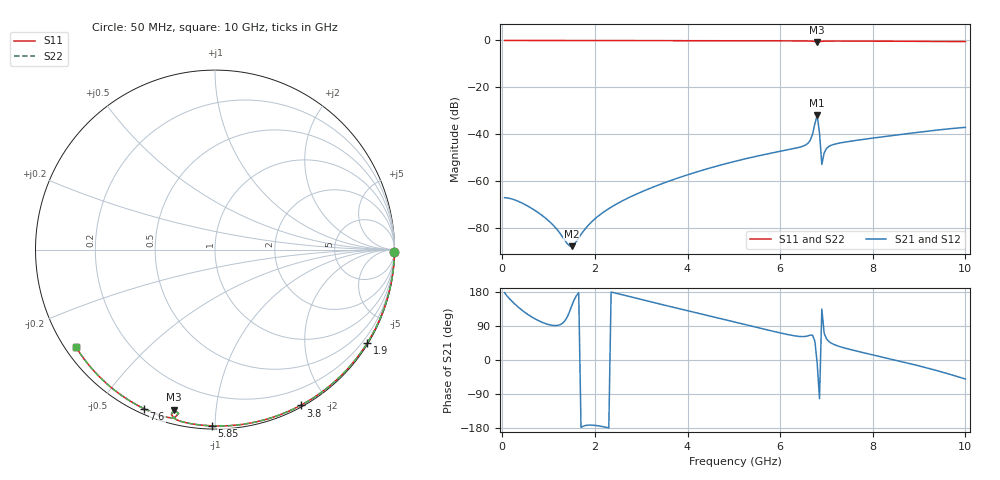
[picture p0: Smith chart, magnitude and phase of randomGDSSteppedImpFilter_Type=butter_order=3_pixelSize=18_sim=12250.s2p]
! freq	dB(S11)	phase(S11)	dB(S12)	phase(S12)
!  dB(S21)	phase(S21)	dB(S22)	phase(S22)
!S-par simulation data
#  GHz  S  DB  R 50
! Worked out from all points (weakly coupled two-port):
!   200 points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, 50 MHz to 10 GHz, reference 50 ohm
!   highest |S21| = -31.88 dB at 6.8 GHz (marker M1); lowest = -87.6 dB at 1.5 GHz (marker M2)
!   lowest |S11| = -0.7 dB at 6.8 GHz (marker M3), VSWR 24.33, Z = 3.29 - j38.6 ohm
!   |S11| at or under -10 dB: nowhere
!   |S22| runs from -0.7 to 0.0 dB; largest |S21 - S12| = 0
!   S11 on the Smith chart (normalised r, x): 50 MHz: open; 1.9 GHz: 0.03, -3.55; 3.8 GHz: 0.02, -1.69; 5.85 GHz: 0.02, -0.98; 7.6 GHz: 0.02, -0.65; 10 GHz: 0.03, -0.32
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0.05  -0.00 -0.8  -66.93 177.8  -66.93 177.8  -0.00 -0.8
0.6  -0.01 -10.1  -71.07 116.2  -71.07 116.2  -0.01 -10.1
1.15  -0.02 -19.2  -79.74 90.9  -79.74 90.9  -0.02 -19.2
1.5  -0.03 -25.0  -87.58 143.1  -87.58 143.1  -0.03 -25.0
1.75  -0.04 -29.0  -81.23 -174.6  -81.23 -174.6  -0.04 -29.0
1.9  -0.04 -31.5  -77.81 -171.7  -77.81 -171.7  -0.04 -31.5
2.5  -0.05 -41.1  -69.27 174.9  -69.27 174.9  -0.05 -41.1
3.4  -0.07 -55.1  -61.33 147.8  -61.33 147.8  -0.07 -55.1
3.8  -0.08 -61.2  -58.51 136.0  -58.51 136.0  -0.08 -61.2
5.05  -0.12 -79.7  -51.33 99.2  -51.33 99.2  -0.12 -79.7
5.85  -0.16 -91.0  -47.79 75.7  -47.79 75.7  -0.16 -91.0
6.55  -0.21 -101.1  -44.50 62.3  -44.50 62.3  -0.21 -101.1
6.65  -0.25 -102.8  -42.47 65.8  -42.47 65.8  -0.25 -102.8
6.7  -0.31 -103.9  -39.88 65.5  -39.88 65.5  -0.31 -103.8
6.8  -0.71 -104.4  -31.88 -9.1  -31.88 -9.1  -0.70 -104.5
6.85  -0.59 -102.5  -39.43 -102.0  -39.43 -102.0  -0.59 -102.6
6.9  -0.35 -103.4  -52.80 134.6  -52.80 134.6  -0.36 -103.4
6.95  -0.28 -104.5  -47.93 70.9  -47.93 70.9  -0.28 -104.5
7.05  -0.25 -106.2  -45.13 49.1  -45.13 49.1  -0.25 -106.3
7.6  -0.26 -114.0  -42.66 25.1  -42.66 25.1  -0.26 -114.0
8.35  -0.32 -123.8  -40.67 3.6  -40.67 3.6  -0.32 -123.9
10  -0.48 -144.9  -37.01 -50.2  -37.01 -50.2  -0.48 -144.9
